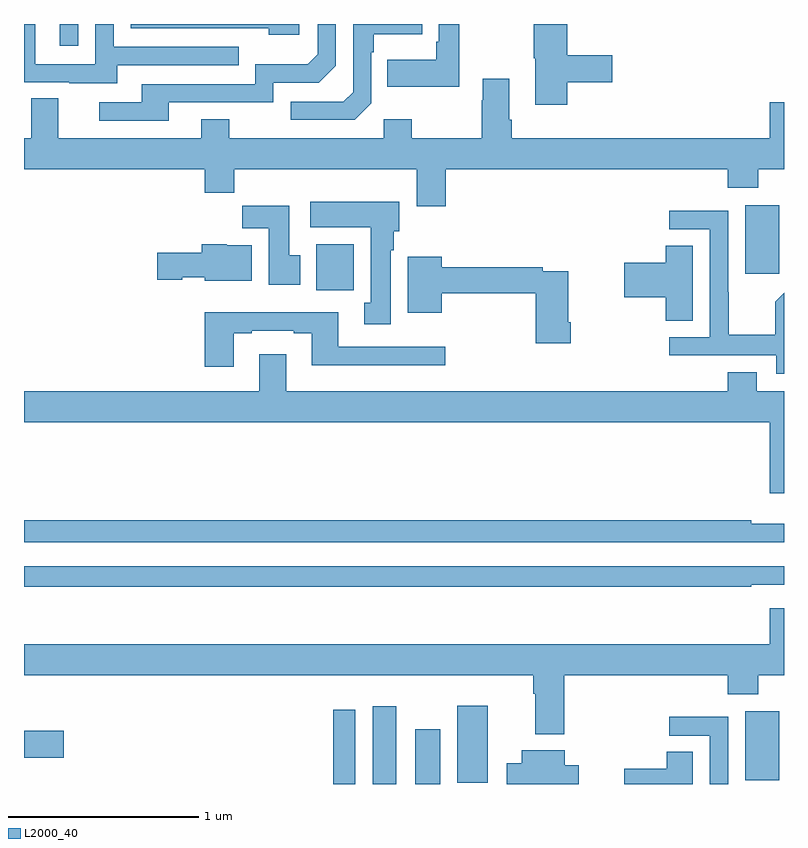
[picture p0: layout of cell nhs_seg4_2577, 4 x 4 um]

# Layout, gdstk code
import gdstk
lib = gdstk.Library(unit=1e-6, precision=1e-09)
def R(c, l, rs):  # rectangles x0, y0, x1, y1
    for r in rs: c.add(gdstk.rectangle(r[:2], r[2:], *l))
def P(c, l, *ps):  # polygons
    for p in ps: c.add(gdstk.Polygon(p, *l))
L2000_40 = (2000, 40)

nhs_seg4_2577 = lib.new_cell('nhs_seg4_2577')
R(nhs_seg4_2577, L2000_40, [(246.628,810.9,246.744,811.291), (246.836,810.9,246.958,811.309), (247.058,810.9,247.192,811.189), (247.28,810.906,247.441,811.312), (248.795,810.921,248.974,811.282), (245,811.037,245.209,811.179), (246.539,813.5,246.736,813.742), (248.795,813.585,248.974,813.946), (245.189,814.785,245.286,814.9)])
P(nhs_seg4_2577, L2000_40, [(246.448,814.9),(245.562,814.9),(245.562,814.878),(246.287,814.878),(246.287,814.844),(246.448,814.844)],
  [(247.291,814.9),(247.182,814.9),(247.182,814.807),(247.17,814.807),(247.17,814.711),(246.913,814.711),(246.913,814.571),(247.291,814.571)],
  [(245.491,814.683),(246.131,814.683),(246.131,814.779),(245.472,814.779),(245.472,814.9),(245.376,814.9),(245.376,814.689),(245.058,814.689),(245.058,814.9),(245,814.9),(245,814.593),(245.237,814.593),(245.237,814.589),(245.491,814.589)],
  [(245.761,814.488),(246.312,814.488),(246.312,814.59),(246.552,814.59),(246.642,814.68),(246.642,814.9),(246.546,814.9),(246.546,814.74),(246.493,814.687),(246.216,814.687),(246.216,814.584),(245.621,814.584),(245.621,814.488),(245.397,814.488),(245.397,814.392),(245.761,814.392)],
  [(247.859,814.594),(248.095,814.594),(248.095,814.736),(247.859,814.736),(247.859,814.9),(247.684,814.9),(247.684,814.719),(247.691,814.719),(247.691,814.476),(247.859,814.476)],
  [(246.828,814.482),(246.828,814.751),(246.841,814.751),(246.841,814.847),(247.097,814.847),(247.097,814.9),(246.732,814.9),(246.732,814.542),(246.681,814.491),(246.405,814.491),(246.405,814.395),(246.741,814.395)],
  [(245.933,814.399),(245.933,814.3),(245.179,814.3),(245.179,814.508),(245.039,814.508),(245.039,814.3),(245,814.3),(245,814.136),(245.951,814.136),(245.951,814.012),(246.107,814.012),(246.107,814.136),(247.067,814.136),(247.067,813.942),(247.22,813.942),(247.22,814.136),(248.705,814.136),(248.705,814.037),(248.865,814.037),(248.865,814.136),(249,814.136),(249,814.489),(248.924,814.489),(248.924,814.3),(247.568,814.3),(247.568,814.396),(247.555,814.396),(247.555,814.612),(247.415,814.612),(247.415,814.499),(247.408,814.499),(247.408,814.3),(247.041,814.3),(247.041,814.399),(246.894,814.399),(246.894,814.3),(246.081,814.3),(246.081,814.399)],
  [(246.931,813.71),(246.946,813.71),(246.946,813.81),(246.976,813.81),(246.976,813.964),(246.507,813.964),(246.507,813.83),(246.824,813.83),(246.824,813.434),(246.791,813.434),(246.791,813.321),(246.931,813.321)],
  [(246.454,813.684),(246.397,813.684),(246.397,813.943),(246.148,813.943),(246.148,813.824),(246.287,813.824),(246.287,813.528),(246.454,813.528)],
  [(249,813.486),(248.953,813.439),(248.953,813.265),(248.709,813.265),(248.709,813.488),(248.706,813.488),(248.706,813.918),(248.397,813.918),(248.397,813.819),(248.61,813.819),(248.61,813.252),(248.397,813.252),(248.397,813.156),(248.958,813.156),(248.958,813.059),(249,813.059)],
  [(246.199,813.736),(246.066,813.736),(246.066,813.742),(245.936,813.742),(245.936,813.696),(245.7,813.696),(245.7,813.554),(245.832,813.554),(245.832,813.566),(245.952,813.566),(245.952,813.548),(246.199,813.548)],
  [(248.521,813.734),(248.378,813.734),(248.378,813.644),(248.16,813.644),(248.16,813.461),(248.378,813.461),(248.378,813.337),(248.521,813.337)],
  [(247.877,813.331),(247.864,813.331),(247.864,813.6),(247.73,813.6),(247.73,813.62),(247.198,813.62),(247.198,813.676),(247.019,813.676),(247.019,813.38),(247.198,813.38),(247.198,813.484),(247.694,813.484),(247.694,813.219),(247.877,813.219)],
  [(246.103,813.273),(246.199,813.273),(246.199,813.285),(246.419,813.285),(246.419,813.273),(246.515,813.273),(246.515,813.104),(247.216,813.104),(247.216,813.201),(246.655,813.201),(246.655,813.382),(245.951,813.382),(245.951,813.096),(246.103,813.096)],
  [(249,812.968),(248.857,812.968),(248.857,813.067),(248.705,813.067),(248.705,812.968),(246.379,812.968),(246.379,813.163),(246.239,813.163),(246.239,812.968),(245,812.968),(245,812.804),(248.924,812.804),(248.924,812.43),(249,812.43)],
  [(249,812.269),(248.828,812.269),(248.828,812.288),(245,812.288),(245,812.172),(249,812.172)],
  [(248.828,811.95),(249,811.95),(249,812.046),(245,812.046),(245,811.938),(248.828,811.938)],
  [(247.844,811.472),(248.705,811.472),(248.705,811.373),(248.865,811.373),(248.865,811.472),(249,811.472),(249,811.825),(248.924,811.825),(248.924,811.636),(245,811.636),(245,811.472),(247.679,811.472),(247.679,811.376),(247.691,811.376),(247.691,811.163),(247.844,811.163)],
  [(248.706,811.254),(248.397,811.254),(248.397,811.155),(248.61,811.155),(248.61,810.9),(248.706,810.9)],
  [(247.921,811),(247.846,811),(247.846,811.078),(247.619,811.078),(247.619,811.008),(247.541,811.008),(247.541,810.9),(247.921,810.9)],
  [(248.521,811.07),(248.383,811.07),(248.383,810.98),(248.16,810.98),(248.16,810.9),(248.521,810.9)])

lib.write_gds('nhs_seg4_2577.gds')
